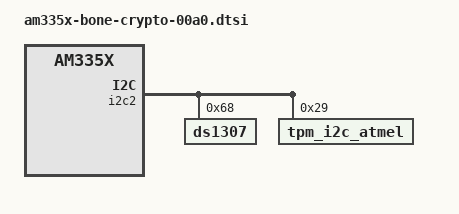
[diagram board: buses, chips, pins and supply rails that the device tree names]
/*
 * Copyright (C) 2012 Texas Instruments Incorporated - http://www.ti.com/
 *
 * This program is free software; you can redistribute it and/or modify
 * it under the terms of the GNU General Public License version 2 as
 * published by the Free Software Foundation.
 */

/*
 * FIXME: gpio
 * (bbcape_crypto_pins)
 * atmega_rst@1 {
 * 	label = "atmega_rst";
 * 	gpio = <&gpio1 17 0x00>;
 * };
 *
 * ataes132_auth@2 {
 * 	label = "test_input";
 * 	gpio = <&gpio1 13 0x00>;
 * };
 */

&i2c2 {
	ds1307@68 {
		compatible = "ds1307";
		reg = <0x68>;
	};

	tpm_i2c_atmel@29 {
		compatible = "tpm_i2c_atmel";
		reg = <0x29>;
	};
};

/* uart4: P9.11, P9.13 */
#include "am335x-bone-ttyO4.dtsi"
